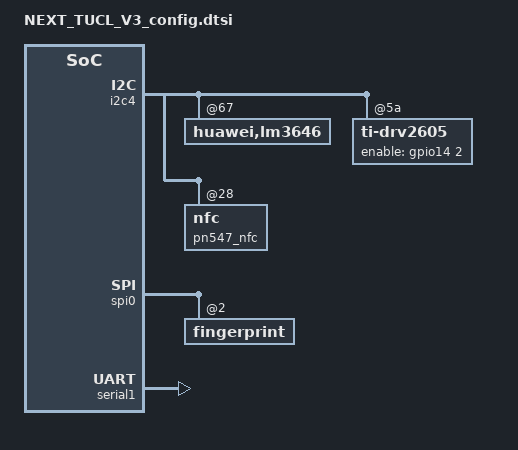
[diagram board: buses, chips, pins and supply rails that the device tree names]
/**
 * Copyright (C) 2014 Hisilicon Ltd.
 *
 *  This program is free software; you can redistribute it and/or modify
 *  it under the terms of the GNU General Public License version 2 as
 *  publishhed by the Free Software Foundation.
 */

/include/ "NEXT_TUCL_V1_config.dtsi"

/ {
	hisi,boardid = <3 5 0 2>;
	hisi,boardname = "NEXT_TUCL_V3";
	hisi,modem_id = <0x3C000400>;

	fastboot {
		/*motor*/
		motor-gpio_en = <114>;
		motor-gpio_cfg_addr = <0xE896C9C8>;
	};
	huawei,hisi_isp100{
		pinctrl-0 = <&gpio122_pmx_func
                 &gpio017_pmx_func
                 &gpio018_pmx_func
                 &gpio022_pmx_func
                 &gpio023_pmx_func
                 &gpio025_pmx_func
                 &gpio026_pmx_func
                 &gpio027_pmx_func
                 &gpio028_pmx_func
                 &gpio000_hi6402_pinctrl_func
                 &gpio003_hi6402_pinctrl_func
                 //&gpio196_pmx_func
                 &gpio220_pmx_func
                 &gpio122_cfg_func
                 &gpio017_cfg_func
                 &gpio018_cfg_func
                 &gpio022_cfg_func
                 &gpio023_cfg_func
                 &gpio025_cfg_func
                 &gpio026_cfg_func
                 &gpio027_cfg_func
                 &gpio028_cfg_func
                 //&gpio193_cfg_func
                 //&gpio196_cfg_func
                 &gpio220_cfg_func
			     >;
		pinctrl-1 = <&gpio122_pmx_idle
                 &gpio017_pmx_idle
                 &gpio018_pmx_idle
                 &gpio022_pmx_idle
                 &gpio023_pmx_idle
                 &gpio025_pmx_idle
                 &gpio026_pmx_idle
                 &gpio027_pmx_idle
                 &gpio028_pmx_idle
                 &gpio000_hi6402_pinctrl_idle
                 &gpio003_hi6402_pinctrl_idle
                 //&gpio196_pmx_idle
                 &gpio220_pmx_idle
                 &gpio122_cfg_idle
                 &gpio017_cfg_idle
                 &gpio018_cfg_idle
                 &gpio022_cfg_idle
                 &gpio023_cfg_idle
                 &gpio025_cfg_idle
                 &gpio026_cfg_idle
                 &gpio027_cfg_idle
                 &gpio028_cfg_idle
                 //&gpio193_cfg_idle
                 //&gpio196_cfg_idle
                 &gpio220_cfg_idle
			     >;
	};

	huawei,imx179{
		gpios = <&gpio2 1 0 &gpio2 2 0 &gpio15 2 0 &gpio28 3 0>;
	};



	amba {
		i2c4: i2c@FDF0D000 {
			huawei,lm3646@67{
				pinctrl-0 = <&gpio030_hi6402_pinctrl_func>;
				pinctrl-1 = <&gpio030_hi6402_pinctrl_idle>;
				huawei,flash-pin = <254 999 999>;
			};
			ti-drv2605@5a {
				gpio-enable = <&gpio14 2 0>;
			};
			pn547_nfc:nfc@28 {
				nfc_chip_type = "pn66t";
				nfc_single_channel = "false";
			};
		};

		spi0: spi@ffd70000 {
				fingerprint: fingerprint@2 {
						fingerprint,reset_gpio = <112>;

						pinctrl-0 = <&gpio112_pmx_func &gpio004_hi6402_pinctrl_func &gpio112_cfg_func>;
						pinctrl-1 = <&gpio112_pmx_idle &gpio004_hi6402_pinctrl_idle &gpio112_cfg_idle>;
				};
		};

		serial1: uart@fdf00000 {
			pinctrl-0 = <>;
			pinctrl-1 = <>;
			dmas;
			dma-names;
			clock-rate = <0 160000000>;
			status = "ok";
			reset-enable-flag = <1>;
		};
	};

	huawei,lcd_panel {
		support_lcd_type = "JDI_NT35695_CUT3_1_LCD","LG_ER69006A_LCD";
	};

	sensorhub{
		als_sensor:light{
			als1{
				als_phone_version = <101>;
			};
		};
	};
};
